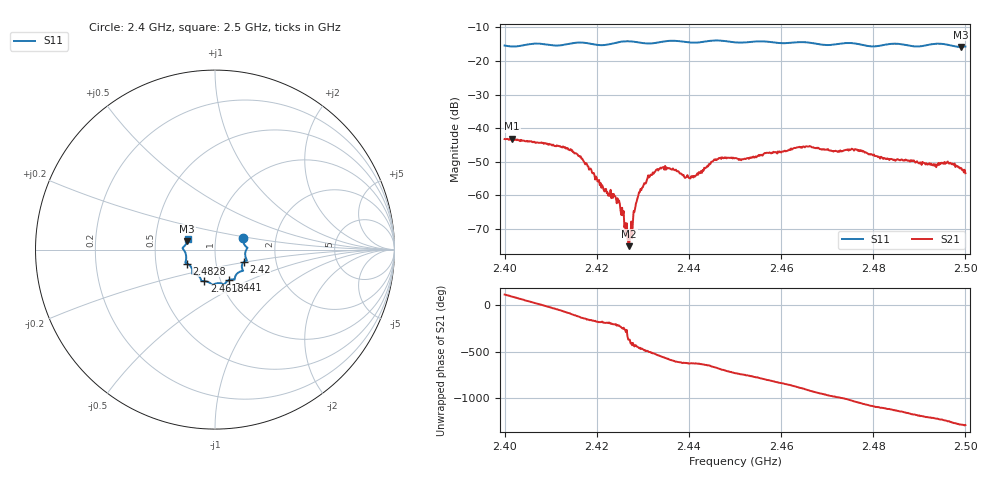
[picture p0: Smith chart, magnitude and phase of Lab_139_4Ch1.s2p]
# Hz S RI R 50
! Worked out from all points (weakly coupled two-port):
!   601 points, 2.4 GHz to 2.5 GHz, reference 50 ohm
!   highest |S21| = -43.16 dB at 2.4017 GHz (marker M1); lowest = -75.1 dB at 2.427 GHz (marker M2)
!   lowest |S11| = -15.8 dB at 2.499 GHz (marker M3), VSWR 1.39, Z = 36.5 + j3.48 ohm
!   |S11| at or under -10 dB: start of sweep to end of sweep
!   S12 and S22 are empty: the file has one direction only
!   S11 on the Smith chart (normalised r, x): 2.4 GHz: 1.36, +0.18; 2.42 GHz: 1.36, -0.20; 2.441 GHz: 1.10, -0.39; 2.4618 GHz: 0.84, -0.30; 2.4828 GHz: 0.72, -0.12; 2.5 GHz: 0.73, +0.09
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2.4e9  0.1575 0.0629  -0.00271 0.00634  0 0  0 0
2.401667e9  0.1584 0.043  -2.4e-05 0.00695  0 0  0 0
2.413167e9  0.1702 -0.0415  0.00144 -0.00502  0 0  0 0
2.416667e9  0.1778 -0.0602  -0.00251 -0.00248  0 0  0 0
2.42e9  0.1591 -0.0697  -0.00182 -0.000122  0 0  0 0
2.4245e9  0.1532 -0.1106  -0.000754 0.000506  0 0  0 0
2.425333e9  0.1556 -0.115  -0.000252 0.000444  0 0  0 0
2.4265e9  0.1569 -0.118  -3.33e-05 0.000384  0 0  0 0
2.427e9  0.1563 -0.1184  0.000173 -3.31e-05  0 0  0 0
2.427333e9  0.1555 -0.1186  0.000173 -0.000207  0 0  0 0
2.4285e9  0.1495 -0.1195  0.00024 -0.000716  0 0  0 0
2.429333e9  0.1428 -0.1214  -0.000131 -0.00111  0 0  0 0
2.433333e9  0.1121 -0.1511  -0.00235 -1.11e-05  0 0  0 0
2.441e9  0.0785 -0.1696  -0.000228 0.00184  0 0  0 0
2.445333e9  0.0523 -0.1941  0.00174 0.0028  0 0  0 0
2.45e9  0.0283 -0.1871  0.00354 -0.000571  0 0  0 0
2.461833e9  -0.0594 -0.1759  -0.00341 -0.00342  0 0  0 0
2.466667e9  -0.0778 -0.168  -0.0048 0.00203  0 0  0 0
2.482833e9  -0.1574 -0.0775  0.00304 -0.00167  0 0  0 0
2.483333e9  -0.1606 -0.0762  0.00295 -0.00189  0 0  0 0
2.499e9  -0.1548 0.0465  -0.0024 0.000925  0 0  0 0
2.5e9  -0.1519 0.061  -0.00193 0.000923  0 0  0 0
